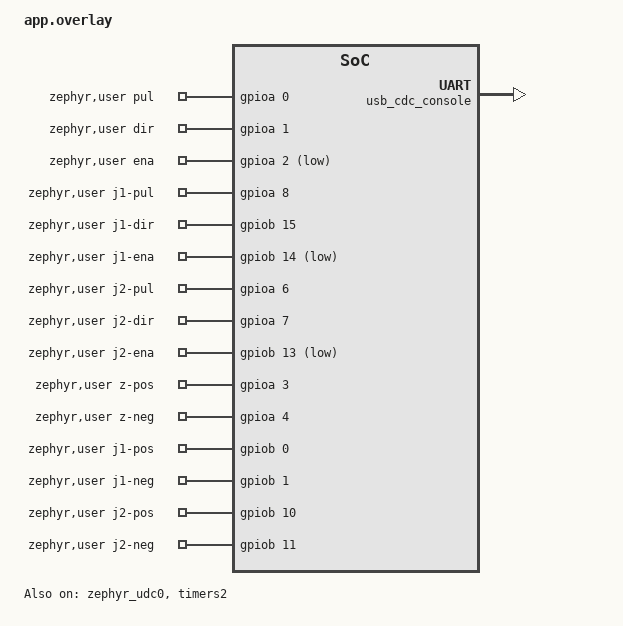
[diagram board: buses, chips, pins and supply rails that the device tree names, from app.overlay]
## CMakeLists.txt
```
cmake_minimum_required(VERSION 3.20.0)
find_package(Zephyr REQUIRED HINTS $ENV{ZEPHYR_BASE})
project(scara_cartesian)
target_sources(app PRIVATE
    src/main.c
    src/cart_core.c
    src/cart_commands.c
    src/cart_telemetry.c
    src/command_text.c
    src/command_stream.c
    src/jog_core.c
    src/home_worker.c
)
```

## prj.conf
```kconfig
CONFIG_GPIO=y
CONFIG_ADC=n
CONFIG_COUNTER=y
CONFIG_BOOT_BANNER=n
CONFIG_MAIN_STACK_SIZE=4096
CONFIG_USB_DEVICE_STACK=y
CONFIG_USB_DEVICE_INITIALIZE_AT_BOOT=n
CONFIG_USB_DEVICE_PRODUCT="SCARA Cartesian NC Home"
CONFIG_USB_DEVICE_PID=0x0006
CONFIG_SERIAL=y
CONFIG_CONSOLE=y
CONFIG_UART_CONSOLE=y
CONFIG_UART_LINE_CTRL=y
```

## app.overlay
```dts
/*
 * Pin mapping cho module TB6600 (PUL-, DIR-, ENA- noi GND):
 *   PA0 -> PUL+
 *   PA1 -> DIR+
 *   PA2 -> ENA+
 *
 * ENA la GPIO_ACTIVE_LOW: "logic 1" = driver duoc cho phep = chan PA2 ra muc THAP.
 * (Voi TB6600, ENA+ co dong qua opto => driver bi TAT/offline.)
 *
 * Six dry NC switches: COM -> GND, NC -> GPIO; NO unused.
 * Internal 3.3V pull-up: closed LOW, actuated/open wire HIGH.
 */
#include <zephyr/dt-bindings/gpio/gpio.h>

/ {
	chosen {
		zephyr,console = &usb_cdc_console;
		zephyr,shell-uart = &usb_cdc_console;
	};

	zephyr,user {
		pul-gpios = <&gpioa 0 GPIO_ACTIVE_HIGH>;
		dir-gpios = <&gpioa 1 GPIO_ACTIVE_HIGH>;
		ena-gpios = <&gpioa 2 GPIO_ACTIVE_LOW>;
		j1-pul-gpios = <&gpioa 8 GPIO_ACTIVE_HIGH>;
		j1-dir-gpios = <&gpiob 15 GPIO_ACTIVE_HIGH>;
		j1-ena-gpios = <&gpiob 14 GPIO_ACTIVE_LOW>;
		j2-pul-gpios = <&gpioa 6 GPIO_ACTIVE_HIGH>;
		j2-dir-gpios = <&gpioa 7 GPIO_ACTIVE_HIGH>;
		j2-ena-gpios = <&gpiob 13 GPIO_ACTIVE_LOW>;
		z-pos-gpios = <&gpioa 3 (GPIO_ACTIVE_HIGH | GPIO_PULL_UP)>;
		z-neg-gpios = <&gpioa 4 (GPIO_ACTIVE_HIGH | GPIO_PULL_UP)>;
		j1-pos-gpios = <&gpiob 0 (GPIO_ACTIVE_HIGH | GPIO_PULL_UP)>;
		j1-neg-gpios = <&gpiob 1 (GPIO_ACTIVE_HIGH | GPIO_PULL_UP)>;
		j2-pos-gpios = <&gpiob 10 (GPIO_ACTIVE_HIGH | GPIO_PULL_UP)>;
		j2-neg-gpios = <&gpiob 11 (GPIO_ACTIVE_HIGH | GPIO_PULL_UP)>;
	};
};

/* Cong micro-USB Blue Pill: PA11 = D-, PA12 = D+.
 * printk() xuat ra COM ao, khong can bo chuyen doi USB-UART. */
&zephyr_udc0 {
	status = "okay";
	usb_cdc_console: cdc_acm_uart0 {
		compatible = "zephyr,cdc-acm-uart";
	};
};

/* ADC1 defaults to PA0 (PUL); keep all switch pins digital. */
&adc1 { status = "disabled"; };

/* PA4 is also SPI1 NSS. PB10/PB11 are USART3 and I2C2 by default. */
&spi1 {
	status = "disabled";
};
&spi2 { status = "disabled"; };
&usart3 { status = "disabled"; };
&i2c2 { status = "disabled"; };
/* PA8/PB13/PB14/PB15 stay GPIO; the only pulse timer is shared TIM2. */
&timers1 { status = "disabled"; };
&pwm1 { status = "disabled"; };

/* Board stm32_min_dev bat USART2 mac dinh tren PA2/PA3.
 * Hai chan nay da danh cho ENA va cam bien; console chuyen sang USB CDC ACM. */
&usart2 {
	status = "disabled";
};

/* TIM2 at 72 MHz / 72 = 1 MHz. PA0 stays GPIO, no PWM pin remapping. */
&timers2 {
	status = "okay";
	st,prescaler = <71>;
	jog_timer: counter {
		status = "okay";
	};
};
```

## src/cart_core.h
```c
/*
 * ============================================================================
 * FILE: cart_core.h
 * ============================================================================
 * [EN] 3-Axis SCARA Core State, Fixed-Point DDA Interpolator & Homing Stages
 *      Defines the central `struct ct_state` holding all 3 axes (`Z`, `J1`, `J2`),
 *      differential belt coupling (`beta`), backlash compensation, FIFO path
 *      queue (`CT_PATH_CAP = 32`), and multi-stage initialization state machine.
 *
 * [VI] Cấu trúc Trạng thái Lõi 3 Trục SCARA, Bộ Nội suy DDA & Quy trình Homing
 *      Định nghĩa cấu trúc trung tâm `struct ct_state` quản lý toàn bộ 3 trục
 *      (`Z`, `J1`, `J2`), hệ số bù truyền động dây đai chéo (`beta`), bù độ rơ
 *      cơ khí (`backlash`), hàng đợi quỹ đạo liên tục (`CT_PATH_CAP = 32` đoạn)
 *      và máy trạng thái khởi tạo hệ tọa độ tự động.
 *
 * [IMPORTANT ARCHITECTURE NOTE / LƯU Ý KIẾN TRÚC QUAN TRỌNG]:
 * - Wire axis index order is ALWAYS: `0 = CT_Z`, `1 = CT_J1`, `2 = CT_J2`.
 * - The pulse ISR (`pulse_tick` in `main.c`) uses ONLY integer/fixed-point
 *   arithmetic (`CT_Q = 2^20 = 1048576`) because STM32F103 Cortex-M3 has no
 *   hardware FPU!
 * - Thứ tự chỉ số trục luôn cố định: `0 = CT_Z` (trục đứng), `1 = CT_J1` (vai),
 *   `2 = CT_J2` (khuỷu).
 * - Ngắt phát xung (`pulse_tick` trong `main.c`) chỉ sử dụng số nguyên dấu phẩy
 *   tĩnh (`CT_Q = 2^20 = 1048576`) vì vi điều khiển STM32F103 Cortex-M3 không có
 *   bộ xử lý số thực phần cứng (FPU)!
 * ============================================================================
 */

#ifndef SCARA_CART_CORE_H
#define SCARA_CART_CORE_H

#include "home_worker.h"

/*
 * [EN] Axis indices: Z vertical prism (0), Joint 1 shoulder (1), Joint 2 elbow motor (2).
 * [VI] Chỉ số trục: Trục tịnh tiến Z (0), Khớp vai J1 (1), Động cơ khớp khuỷu J2 (2).
 */
enum {
    CT_Z = 0,
    CT_J1 = 1,
    CT_J2 = 2,
    CT_AXES = 3
};

/*
 * [EN] Return status for command execution and background service ticks.
 * [VI] Mã kết quả trả về khi xử lý lệnh hoặc hàm dịch vụ nền `ct_service`.
 */
enum ct_result {
    CT_OK,          /* [EN] Accepted, no motor timer start needed / [VI] Thành công, không cần bật mới Timer */
    CT_START,       /* [EN] Motion ready: caller must start pulse timer / [VI] Bắt đầu chạy: cần kích hoạt Timer phát xung */
    CT_REJECTED,    /* [EN] Command/state rejected (see `c->reply`) / [VI] Lệnh bị từ chối (xem lý do ở `c->reply`) */
    CT_HOLD_CHANGE  /* [EN] Caller must toggle motor ENA pin / [VI] Yêu cầu đóng/ngắt chân ENA giữ động cơ */
};

/*
 * [EN] Active motion mode of the 3-axis controller.
 * [VI] Chế độ chuyển động hiện tại của bộ điều khiển 3 trục.
 */
enum ct_mode {
    CT_IDLE,  /* [EN] Stationary / [VI] Đang đứng yên */
    CT_MOVE,  /* [EN] Coordinated point-to-point or path move / [VI] Chạy nội suy điểm-tới-điểm hoặc quỹ đạo vẽ */
    CT_CAL,   /* [EN] Single-axis limit switch calibration / [VI] Đang dò công tắc hành trình hiệu chuẩn */
    CT_PARK   /* [EN] Internal positioning move during INIT / [VI] Chạy di chuyển nội bộ trong quy trình INIT */
};

/*
 * [EN] Multi-stage homing & auto-coupling initialization sequence (`INIT` command).
 * [VI] Các bước tuần tự trong quy trình dò gốc và đo tỷ số truyền đai tự động (`INIT`).
 */
enum ct_stage {
    HS_IDLE,           /* [EN] Not initialized yet / [VI] Chưa khởi tạo gốc */
    HS_Z,              /* [EN] Step 1: Calibrate Z axis / [VI] Bước 1: Dò gốc và đo hành trình trục Z */
    HS_J2_PRE,         /* [EN] Step 2: Pre-calibrate J2 / [VI] Bước 2: Đo sơ bộ hành trình trục J2 */
    HS_J2_MID,         /* [EN] Step 3: Park J2 at midpoint / [VI] Bước 3: Đưa J2 ra chính giữa hành trình */
    HS_J1,             /* [EN] Step 5: Calibrate J1 (with J2 belt compensation) / [VI] Bước 5: Dò gốc trục J1 (có bù đai J2) */
    HS_J1_MID,         /* [EN] Step 6: Move J1 to park angle / [VI] Bước 6: Đưa J1 về góc Park */
    HS_J2_FINAL,       /* [EN] Step 7: Final J2 calibration at J1 park angle / [VI] Bước 7: Dò gốc chính xác J2 khi J1 ở vị trí Park */
    HS_PARK,           /* [EN] Step 8: Move all 3 axes to Park pose / [VI] Bước 8: Đưa cả 3 trục về tư thế Park hoàn tất */
    HS_READY,          /* [EN] Homing complete & referenced! / [VI] Đã có gốc tọa độ, sẵn sàng làm việc! */
    HS_FAILED,         /* [EN] Homing failed / [VI] Quy trình dò gốc thất bại */
    HS_COUPLE_PROBE,   /* [EN] Step 4a: Probe J1 by `probe_pulses` to measure belt coupling / [VI] Bước 4a: Nhích thử J1 để đo độ kéo theo của dây đai */
    HS_COUPLE_SCAN,    /* [EN] Step 4b: Re-scan J2 to measure shift `dB/dA` / [VI] Bước 4b: Quét lại J2 để tính tỷ số truyền đai thực tế */
    HS_COUPLE_RETURN   /* [EN] Step 4c: Return J1/J2 to pre-probe midpoint / [VI] Bước 4c: Đưa J1/J2 trở lại vị trí giữa trước khi dò J1 */
};

/*
 * [EN] Fixed-point scaling and operational limits:
 *      - CT_Q            : 2^20 (1,048,576) fixed-point unit for DDA & coupling math.
 *      - CT_MAX_POS      : Absolute step count ceiling (4,000,000 steps).
 *      - CT_MAX_RATE     : Maximum coordinated XY/arm step rate (1600 pulses/s).
 *      - CT_Z_CAL_RATE   : Maximum Z-only step rate (6400 pulses/s).
 *      - CT_LEASE        : Host heartbeat watchdog timeout (350 ms).
 *      - CT_INIT_MS      : Maximum duration for full 3-axis INIT (30 minutes).
 *      - CT_INPUT_WAIT_MS: Max recovery window for transient switch bounce (200 ms).
 *      - CT_PATH_CAP     : Ring-buffer capacity for streamed path segments (32 segments).
 *
 * [VI] Các hằng số dấu phẩy tĩnh và giới hạn vận hành:
 *      - CT_Q            : Hệ số nhân 2^20 (1.048.576) cho toán nguyên DDA và bù dây đai.
 *      - CT_MAX_POS      : Giới hạn tọa độ xung tuyệt đối (4.000.000 xung).
 *      - CT_MAX_RATE     : Tốc độ xung tối đa khi nội suy tay máy (1600 xung/giây).
 *      - CT_Z_CAL_RATE   : Tốc độ xung tối đa khi chỉ chạy riêng trục Z (6400 xung/giây).
 *      - CT_LEASE        : Thời gian chờ gói tin KEEP tối đa (350 ms).
 *      - CT_INIT_MS      : Thời gian tối đa cho toàn bộ lệnh INIT (30 phút).
 *      - CT_INPUT_WAIT_MS: Thời gian chờ ổn định công tắc tối đa khi bị nhiễu (200 ms).
 *      - CT_PATH_CAP     : Sức chứa bộ đệm vòng cho quỹ đạo vẽ liên tục (32 đoạn).
 */
#define CT_Q             1048576LL
#define CT_MAX_POS       4000000
#define CT_MAX_RATE      1600U
#define CT_Z_CAL_RATE    6400U
#define CT_LEASE         350U
#define CT_INIT_MS       1800000U
#define CT_INPUT_WAIT_MS 200U
#define CT_PATH_CAP      32U

/*
 * [EN] A single buffered trajectory segment in the continuous path FIFO (`PATH`/`SEG`/`GO`).
 * [VI] Cấu trúc một đoạn quỹ đạo trong hàng đợi FIFO khi vẽ nét liên tục (`PATH`/`SEG`/`GO`).
 */
struct ct_segment {
    int32_t target[CT_AXES]; /* [EN] Absolute motor step target / [VI] Đích đến tính bằng số bước động cơ */
    uint32_t accel;          /* [EN] Acceleration in pulses/s^2 / [VI] Gia tốc (xung/giây^2) */
    uint16_t peak;           /* [EN] Peak cruise rate (pps) / [VI] Vận tốc đỉnh của đoạn (xung/giây) */
    uint16_t entry;          /* [EN] Entry boundary rate (pps) / [VI] Vận tốc đầu đoạn (xung/giây) */
    uint16_t exit;           /* [EN] Exit boundary rate (pps) / [VI] Vận tốc cuối đoạn (xung/giây) */
};

/*
 * [EN] Master 3-axis SCARA controller state structure.
 * [VI] Cấu trúc dữ liệu tổng lưu toàn bộ trạng thái bộ điều khiển 3 trục SCARA.
 */
struct ct_state {
    /*
     * [EN] Limit-switch monitors (`sw[3]`), calibration motion monitor (`cm`),
     *      and per-axis homing worker state machines (`cal[3]`).
     * [VI] Bộ lọc công tắc hành trình 3 trục (`sw[3]`), bộ giám sát trục đang dò gốc (`cm`),
     *      và máy trạng thái đo hành trình của từng trục (`cal[3]`).
     */
    struct zj_state sw[CT_AXES], cm;
    struct hc_state cal[CT_AXES];

    /*
     * [EN] Step coordinates and scale factors for each axis:
     *      - `pos`    : Current raw motor step position (signed steps since power-on).
     *      - `origin` : Raw motor step coordinate corresponding to 0 mm (Z) or 0 deg (J1/J2).
     *      - `goal`   : Target raw motor step coordinate for the current move.
     *      - `total`  : Cumulative step pulses emitted since boot.
     *      - `range`  : Measured end-to-end travel span in pulses (`cal[a].pulses`).
     *      - `factor` : Active Q10 scale factor (`pulses_per_mm_or_deg * 1024`).
     *      - `nominal`: Configured nominal Q10 scale factor from `GEOM`.
     *      - `micro`  : Configured driver microstepping (`1, 2, 4, 8, 16, 32`).
     *
     * [VI] Tọa độ bước và hệ số tỷ lệ của từng trục:
     *      - `pos`    : Vị trí bước động cơ thô hiện tại (tính từ lúc bật nguồn).
     *      - `origin` : Tọa độ bước thô ứng với điểm gốc 0 mm (trục Z) hoặc 0 độ (J1/J2).
     *      - `goal`   : Tọa độ bước đích của lệnh di chuyển hiện tại.
     *      - `total`  : Tổng số xung đã phát ra từ lúc khởi động.
     *      - `range`  : Tổng số xung đo được giữa 2 công tắc hành trình.
     *      - `factor` : Hệ số quy đổi xung Q10 thực tế (`số_xung_trên_mm_hoặc_độ * 1024`).
     *      - `nominal`: Hệ số quy đổi xung Q10 danh định nhận từ lệnh `GEOM`.
     *      - `micro`  : Cấu hình vi bước của driver (`1, 2, 4, 8, 16, 32`).
     */
    int32_t pos[CT_AXES], origin[CT_AXES], goal[CT_AXES];
    uint64_t total[CT_AXES];
    uint32_t range[CT_AXES], factor[CT_AXES], nominal[CT_AXES], micro[CT_AXES];

    /*
     * [EN] Angular limits in millidegrees (`1 deg = 1000 mdeg`), Z travel in micrometers
     *      (`1 mm = 1000 um`), belt coupling in ppm (`1e6 = 1.0`), and homing tuning rates.
     * [VI] Giới hạn góc tính bằng phần nghìn độ (`1 độ = 1000 mdeg`), hành trình Z tính
     *      bằng micromet (`1 mm = 1000 um`), hệ số truyền đai (ppm) và tốc độ dò gốc.
     */
    int32_t low_md[2], high_md[2], park_md[2], span_md[2], coupling_ppm, beta_measured;
    uint32_t z_span_um, z_clear_um;
    uint32_t arm_rate, j2_rate, j2_fine_rate, z_rate, z_fine_rate;
    uint32_t arm_scan, z_scan, arm_back, z_back;

    /*
     * [EN] Session/job tracking, watchdog timestamps, DDA accumulators, and backlash state.
     * [VI] Quản lý phiên kết nối (`session`/`job`), thời gian watchdog, bộ tích lũy DDA và bù độ rơ.
     */
    uint32_t session, job, last_job, lease_ms, start_ms, tick, ticks, rate, reference_epoch;
    uint32_t delta[CT_AXES], comp_total[CT_AXES];
    uint16_t backlash[CT_AXES], comp_left[CT_AXES];
    uint64_t accum[CT_AXES];
    int direction[CT_AXES], joint_dir[CT_AXES], last_dir[CT_AXES];
    int64_t beta, cal_scale, cal_weight[CT_AXES];

    /*
     * [EN] Auto-coupling probe state: measures `dB / dA` from the same J2 endpoint
     *      before and after a short bounded J1 probe during `INIT`.
     * [VI] Trạng thái tự động đo tỷ số truyền đai chéo `dB / dA` bằng cách nhích thử J1
     *      và đo độ dịch chuyển điểm chạm công tắc J2 trong quá trình `INIT`.
     */
    bool auto_coupling, coupling_ready, probe_contact, probe_retry, comp_step;
    bool quick_init, has_calibrated;
    uint32_t probe_pulses, probe_range, saved_range[CT_AXES];
    int32_t probe_a0, probe_b0, probe_mid, probe_da, probe_db;

    /*
     * [EN] Axis selection, configuration bitmask (`cfg_mask == 15` when GEOM/SPAN/PARK/TUNE
     *      are all loaded), polarity, holding torque flags, and overall status flags.
     * [VI] Trục đang chọn, mặt nạ cấu hình (`cfg_mask == 15` khi đã nhận đủ 4 lệnh cấu hình),
     *      cực tính chân DIR, trạng thái giữ phanh động cơ và các cờ trạng thái hệ thống.
     */
    unsigned selected, cfg_mask, hold_axis;
    bool pol[CT_AXES], holding[CT_AXES], running, initializing, referenced, fault, hold_value;

    /*
     * [EN] During initialization only: a transient double-open on a switch pair
     *      freezes pulses temporarily while retaining DDA accumulators and worker
     *      state until a bounded stationary check (`stationary_check`) completes.
     * [VI] Trong quá trình INIT: nếu xuất hiện nhiễu thoáng qua trên cặp công tắc,
     *      tạm dừng phát xung nhưng giữ nguyên bộ cộng tích lũy DDA cho tới khi
     *      kiểm tra tĩnh (`stationary_check`) xác nhận công tắc đã ổn định trở lại.
     */
    bool input_wait, wait_running;
    int wait_cm_dir;
    enum zj_reason wait_cm_reason;
    unsigned wait_axes, wait_bits;
    uint32_t wait_start_ms, wait_stable_ms, ramp_ms, ramp_tick, recovered;

    /*
     * [EN] Switch event diagnostics and pre-transition stability gate state.
     * [VI] Các biến chẩn đoán sự kiện công tắc và cổng chờ ổn định trước khi chuyển pha.
     */
    int input_axis; /* [EN] -1 means no input event since accepted job / [VI] -1 nghĩa là chưa có sự kiện công tắc nào */
    unsigned input_bits, input_kind;
    uint32_t input_at_ms;
    unsigned last_hit_bits;
    uint32_t last_hit_ms;
    uint32_t idle_ignored, gate_start_ms;
    bool gate_wait, wait_guard;
    unsigned gate_axis;

    enum ct_mode mode;
    enum ct_stage stage;
    const char *reason, *reply;

    /*
     * [EN] Bounded FIFO path queue (`CT_PATH_CAP = 32`). Segment transitions
     *      happen seamlessly inside the pulse ISR after draining the final HIGH pulse.
     * [VI] Hàng đợi FIFO lưu các đoạn quỹ đạo vẽ liên tục (`CT_PATH_CAP = 32`).
     *      Việc chuyển tiếp giữa các đoạn diễn ra mượt mà ngay trong ngắt Timer.
     */
    struct ct_segment path_queue[CT_PATH_CAP];
    int32_t path_tail[CT_AXES];
    uint32_t path_accel, path_starved;
    uint32_t path_up, path_down;
    uint16_t path_total, path_received, path_done, path_head, path_size;
    uint16_t path_entry, path_exit;
    bool path_active, path_started;
};

/*
 * [EN] Initialize `struct ct_state` with safe power-on defaults.
 * [VI] Khởi tạo cấu trúc `struct ct_state` với các thông số mặc định an toàn khi bật nguồn.
 */
void ct_init(struct ct_state *c);

/*
 * [EN] Return true if the robot is currently stepping, homing (`initializing`), or running a path.
 * [VI] Trả về `true` nếu robot đang phát xung, đang dò gốc (`initializing`), hoặc đang chạy quỹ đạo.
 */
bool ct_busy(const struct ct_state *c);

/*
 * [EN] Emergency/controlled stop: halts motion, clears `referenced`, and records `reason`.
 * [VI] Dừng khẩn cấp: ngắt chuyển động, xóa cờ gốc tọa độ `referenced` và ghi lại mã lỗi `reason`.
 */
void ct_abort(struct ct_state *c, const char *reason);

/*
 * [EN] Feed raw positive/negative limit switch readings for `axis` at timestamp `now` (ms).
 * [VI] Cập nhật mức tín hiệu thô của cặp công tắc âm/dương cho trục `axis` tại thời điểm `now` (ms).
 */
void ct_sample(struct ct_state *c, unsigned axis, int positive, int negative, uint32_t now);

/*
 * [EN] Verify real-time safety before emitting a step pulse or continuing motion.
 * [VI] Kiểm tra an toàn thời gian thực trước mỗi nhịp phát xung.
 */
bool ct_safe(struct ct_state *c, uint32_t now);

/*
 * [EN] Advance DDA accumulators (or backlash counters) and return 3-bit mask of axes to step.
 * [VI] Tính toán bộ tích lũy DDA (hoặc bù độ rơ) và trả về mặt nạ 3-bit các trục cần phát xung.
 */
unsigned ct_next_mask(struct ct_state *c);

/*
 * [EN] Increment position and pulse counters after emitting a rising edge on `axis`.
 * [VI] Cập nhật tọa độ và bộ đếm xung sau khi phát sườn lên trên trục `axis`.
 */
void ct_count(struct ct_state *c, unsigned axis);

/*
 * [EN] Complete the current DDA tick after all selected axes have pulsed HIGH.
 * [VI] Hoàn tất một nhịp nội suy DDA sau khi các trục được chọn đã phát xung mức CAO.
 */
void ct_finish_tick(struct ct_state *c);

/*
 * [EN] Compute the current step pulse period in microseconds (`1,000,000 / rate_pps`).
 * [VI] Tính chu kỳ phát xung hiện tại theo đơn vị micro-giây (`1.000.000 / tốc_độ_xung`).
 */
uint32_t ct_period_us(const struct ct_state *c, uint32_t now);

/*
 * [EN] Pop and start the next trajectory segment from `path_queue` FIFO inside the ISR.
 * [VI] Lấy đoạn quỹ đạo kế tiếp từ hàng đợi FIFO `path_queue` ra chạy ngay trong ngắt ISR.
 */
bool ct_path_advance(struct ct_state *c);

/*
 * [EN] Background state machine tick for `INIT` homing sequence and path loading watchdog.
 * [VI] Hàm dịch vụ nền điều phối quy trình dò gốc `INIT` và giám sát nạp quỹ đạo.
 */
enum ct_result ct_service(struct ct_state *c, uint32_t now);

/*
 * [EN] Parse and execute one ASCII command line from the PC host.
 * [VI] Giải mã và thực thi một dòng lệnh ASCII gửi xuống từ máy tính.
 */
enum ct_result ct_command(struct ct_state *c, const char *line, uint32_t now);

/*
 * [EN] Report whether toggling the hardware `ENA` pin succeeded after a `HOLD` command.
 * [VI] Báo cáo kết quả đóng/ngắt chân phần cứng `ENA` sau khi thực hiện lệnh `HOLD`.
 */
void ct_hold_complete(struct ct_state *c, bool success);

#endif /* SCARA_CART_CORE_H */
```

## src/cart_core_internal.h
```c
/*
 * ============================================================================
 * FILE: cart_core_internal.h
 * ============================================================================
 * [EN] Internal Helper Prototypes Shared Between `cart_core.c` & `cart_commands.c`
 *      Exposes internal validation, coupling update, raw move setup, and
 *      calibration launch helpers to the command parser without polluting the
 *      public `cart_core.h` header.
 *
 * [VI] Các Hàm Nội bộ Dùng Chung Giữa `cart_core.c` và `cart_commands.c`
 *      Cung cấp các hàm kiểm tra đầu vào, cập nhật hệ số bù đai `beta`, khởi tạo
 *      lệnh chạy thô và kích hoạt pha dò gốc cho bộ giải mã lệnh mà không làm
 *      phức tạp file giao diện công khai `cart_core.h`.
 * ============================================================================
 */

#ifndef SCARA_CART_CORE_INTERNAL_H
#define SCARA_CART_CORE_INTERNAL_H

#include "cart_core.h"

/*
 * [EN] Check all 3 axes' switches and driver states. Returns NULL if healthy,
 *      or a static error reason string ("motor_fault", "released", "switch_io", etc.).
 * [VI] Kiểm tra trạng thái công tắc và driver của cả 3 trục. Trả về NULL nếu an toàn,
 *      hoặc chuỗi mã lỗi tương ứng ("motor_fault", "released", "switch_io", ...) nếu có sự cố.
 */
const char *ct_inputs(struct ct_state *control, uint32_t now);

/*
 * [EN] Recompute fixed-point belt coupling ratio `control->beta` (scaled by `CT_Q = 2^20`)
 *      from `coupling_ppm` and axis scale factors `factor[1]`, `factor[2]`.
 * [VI] Tính toán lại hệ số bù đai dấu phẩy tĩnh `control->beta` (nhân với `CT_Q = 2^20`)
 *      từ `coupling_ppm` và hệ số quy đổi xung `factor[1]`, `factor[2]`.
 */
void ct_beta_update(struct ct_state *control);

/*
 * [EN] Verify whether motor step coordinates `position[CT_AXES]` lie within
 *      calibrated Z travel and J1/J2 angular soft limits (with `margin_md` margin).
 * [VI] Kiểm tra tọa độ bước `position[CT_AXES]` có nằm trong giới hạn mềm của
 *      trục Z và góc khớp vai J1 / khuỷu J2 (trừ biên an toàn `margin_md`) hay không.
 */
bool ct_pose_valid(const struct ct_state *control, const int32_t position[CT_AXES], int margin_md);

/*
 * [EN] Set up a coordinated multi-axis DDA move from `control->pos` to `target` at `rate` pps.
 *      When `park == true`, the move runs in internal `CT_PARK` mode (no backlash take-up).
 * [VI] Thiết lập bộ nội suy DDA đa trục từ vị trí hiện tại `control->pos` tới `target` ở tốc độ `rate`.
 *      Khi `park == true`, lệnh chạy ở chế độ nội bộ `CT_PARK` (không phát xung bù rơ).
 */
enum ct_result ct_raw_move(struct ct_state *control, const int32_t target[CT_AXES], uint32_t rate, bool park);

/*
 * [EN] Compute minimum number of ticks required to ramp between `end` and `peak`
 *      rates under quintic smootherstep profile with acceleration `accel`.
 * [VI] Tính số xung (ticks) tối thiểu cần thiết để tăng/giảm tốc giữa `end` và `peak`
 *      theo đường cong đa thức bậc 5 với gia tốc `accel`.
 */
uint32_t ct_path_ramp(uint32_t peak, uint32_t end, uint32_t accel);

/*
 * [EN] Start a single-axis calibration sequence on `axis` for initialization stage `stage`.
 * [VI] Bắt đầu chu trình dò công tắc hành trình trên trục `axis` ứng với bước `stage`.
 */
enum ct_result ct_begin_cal(struct ct_state *control, unsigned axis, enum ct_stage stage, uint32_t now);

#endif /* SCARA_CART_CORE_INTERNAL_H */
```

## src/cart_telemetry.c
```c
/*
 * ============================================================================
 * FILE: cart_telemetry.c
 * ============================================================================
 * [EN] Telemetry Snapshot Capture and Protocol-V5 JSON Serialization
 *      Converts internal firmware state into the JSON status and ACK packets
 *      consumed by the Python GUI (`cartesian_nc_protocol.py`).
 *
 * [VI] Chụp Ảnh Trạng thái & Đóng gói Chuỗi JSON Giao thức V5
 *      Chuyển đổi các biến trạng thái nội bộ của Firmware thành gói tin JSON
 *      `status` (mỗi 100 ms) và `ack` (sau mỗi lệnh) gửi lên phần mềm Python.
 *
 * [DEBUG TIP / MẸO GỠ LỖI]:
 * - In `ct_status_capture`, reported positions `s->p[a]` and goals `s->g[a]`
 *   are relative to the home origin (`c->pos[a] - c->origin[a]`).
 * - Bitmasks (`switches`, `raw`, `ready`, `holding`, `pol`, `conflicts`) pack
 *   all 3 axes into a single integer so students can inspect every switch wire
 *   directly from the JSON log!
 * - Trong hàm `ct_status_capture`, tọa độ báo về `s->p[a]` đã được trừ đi điểm
 *   gốc `c->origin[a]`. Các trường mặt nạ bit (`switches`, `raw`, `ready`, ...)
 *   nén trạng thái của cả 3 trục vào một số nguyên giúp dễ dàng kiểm tra dây
 *   công tắc từ cửa sổ Log trên máy tính.
 * ============================================================================
 */

#include "cart_telemetry.h"
#include <stdio.h>
#include <string.h>

/*
 * [EN] Copy fields from `c` into `s` quickly while interrupts are locked:
 *      - Step 1: Copy session, job, tick progress, and path FIFO credit counters.
 *      - Step 2: Copy high-level state flags (`busy`, `referenced`, `stage`, `reason`)
 *        and switch glitch recovery diagnostics.
 *      - Step 3: Compute instantaneous step rate `pps` and copy belt coupling values.
 *      - Step 4: Loop over axes `0..2` (`Z`, `J1`, `J2`) to compute home-relative step
 *        positions and pack per-axis switch/driver flags into compact bitmasks.
 *
 * [VI] Sao chép nhanh các trường dữ liệu từ `c` sang `s` trong khi đang khóa ngắt:
 *      - Bước 1: Sao chép mã `session`, `job`, tiến độ xung `tick`/`ticks` và bộ đếm FIFO `path`.
 *      - Bước 2: Sao chép các cờ trạng thái tổng quát (`busy`, `referenced`, `stage`, `reason`)
 *        và thông tin chẩn đoán chống nhiễu công tắc.
 *      - Bước 3: Tính tốc độ xung tức thời `pps` và sao chép các thông số bù dây đai.
 *      - Bước 4: Duyệt qua 3 trục (`Z`, `J1`, `J2`) để tính tọa độ bước tương đối so với gốc
 *        và đóng gói trạng thái công tắc/driver vào các mặt nạ bit (`mask`, `raw`, `ready`, ...).
 */
void ct_status_capture(
    struct ct_status *s,
    const struct ct_state *c,
    bool timer_running,
    uint32_t timer_late,
    uint32_t now
)
{
    memset(s, 0, sizeof(*s));

    /*
     * [EN] Step 1: Session, job tracking, and path FIFO credit counters.
     * [VI] Bước 1: Thông tin phiên kết nối, mã công việc và bộ đếm hàng đợi quỹ đạo.
     */
    s->session = c->session;
    s->job = c->job;
    s->epoch = c->reference_epoch;
    s->tick = c->tick;
    s->ticks = c->ticks;
    s->late = timer_late;

    s->path[0] = c->path_total;
    s->path[1] = c->path_received;
    s->path[2] = c->path_done;
    s->path[3] = CT_PATH_CAP - c->path_size; /* [EN] Available FIFO slots (credits) / [VI] Số ô trống còn lại trong FIFO */
    s->starved = c->path_starved;

    /*
     * [EN] Step 2: High-level controller state and switch recovery diagnostics.
     * [VI] Bước 2: Trạng thái hoạt động tổng quát và thông tin chẩn đoán công tắc.
     */
    s->busy = ct_busy(c) || timer_running;
    s->referenced = c->referenced;
    s->fault = c->fault;
    s->stage = c->stage;
    s->reason = c->reason;

    s->recovered = c->recovered;
    s->input_wait = c->input_wait;
    s->idle_ignored = c->idle_ignored;
    s->gate_wait = c->gate_wait;
    s->gate_axis = c->gate_axis;
    s->input_axis = c->input_axis;
    s->input_kind = c->input_kind;
    s->input_bits = c->input_bits;
    s->input_at = c->input_at_ms;

    /*
     * [EN] Step 3: Motion mode, instantaneous pulse rate (pps), and belt coupling parameters.
     * [VI] Bước 3: Chế độ chạy, tần số xung tức thời (pps) và các hệ số truyền động đai.
     */
    s->mode = c->mode;
    s->selected = c->selected;
    if (c->running) {
        s->pps = 1000000U / ct_period_us(c, now);
    } else {
        s->pps = 0U;
    }

    s->coupling_ppm = c->coupling_ppm;
    s->beta_q = (int32_t)c->beta;
    s->beta_measured = c->beta_measured;
    s->span_md[0] = c->span_md[0];
    s->span_md[1] = c->span_md[1];
    s->comp_pulses[0] = c->comp_total[1];
    s->comp_pulses[1] = c->comp_total[2];
    s->probe_da = c->probe_da;
    s->probe_db = c->probe_db;
    s->coupling_ready = c->coupling_ready;

    /*
     * [EN] Step 4: Per-axis coordinates, calibration results, and packed bitmasks:
     *      - `raw` and `mask` use 2 bits per axis: `bit (2*a)` = positive switch, `bit (2*a + 1)` = negative switch.
     *      - `io_errors`, `ready`, `hold`, `pol`, `conflicts` use 1 bit per axis (`bit a`).
     * [VI] Bước 4: Tọa độ từng trục, kết quả đo hành trình và các mặt nạ bit trạng thái:
     *      - `raw` và `mask` dùng 2 bit mỗi trục: `bit (2*a)` = công tắc dương, `bit (2*a + 1)` = công tắc âm.
     *      - `io_errors`, `ready`, `hold`, `pol`, `conflicts` dùng 1 bit mỗi trục (`bit a`).
     */
    for (unsigned a = 0; a < CT_AXES; a++) {
        s->p[a] = c->pos[a] - c->origin[a];
        s->g[a] = c->goal[a] - c->origin[a];
        s->total[a] = c->total[a];
        s->brief[a] = c->sw[a].brief_both;
        s->false_hits[a] = c->cal[a].false_hits;

        unsigned io_err_bit = (c->sw[a].error != 0) ? 1U : 0U;
        s->io_errors |= (io_err_bit << a);

        unsigned raw_pos_bit = (c->sw[a].raw_pos != 0) ? 1U : 0U;
        unsigned raw_neg_bit = (c->sw[a].raw_neg != 0) ? 2U : 0U;
        s->raw |= ((raw_pos_bit | raw_neg_bit) << (2U * a));

        s->range[a] = c->range[a];
        s->f[a] = c->factor[a];
        s->n1[a] = c->cal[a].n1;
        s->n2[a] = c->cal[a].n2;
        s->phases[a] = c->cal[a].phase;
        s->errors[a] = c->cal[a].error;
        s->failed[a] = c->cal[a].failed_phase;

        unsigned pos_active = (c->sw[a].top || c->sw[a].raw_pos != 0) ? 1U : 0U;
        unsigned neg_active = (c->sw[a].bottom || c->sw[a].raw_neg != 0) ? 1U : 0U;
        s->mask |= (pos_active << (2U * a));
        s->mask |= (neg_active << (2U * a + 1U));

        unsigned ready_bit = zj_ready(&c->sw[a]) ? 1U : 0U;
        unsigned hold_bit = c->holding[a] ? 1U : 0U;
        unsigned pol_bit = c->pol[a] ? 1U : 0U;
        unsigned conflict_bit = c->sw[a].conflict ? 1U : 0U;

        s->ready |= (ready_bit << a);
        s->hold |= (hold_bit << a);
        s->pol |= (pol_bit << a);
        s->direction[a] = c->direction[a];
        s->conflicts |= (conflict_bit << a);
    }
}

/*
 * [EN] Serialize `struct ct_status` into a single-line JSON status message.
 * [VI] Đóng gói cấu trúc `struct ct_status` thành chuỗi JSON một dòng gửi qua USB.
 */
int ct_status_format(char *output, size_t capacity, const struct ct_status *s, uint32_t now)
{
    return snprintf(
        output,
        capacity,
        "{\"type\":\"status\",\"protocol\":5,\"fw\":\"SCARA_CARTESIAN_NC_V5\",\"build\":\"SCARA_CART_NC_HOME_V5_R9\","
        "\"session\":%lu,\"job\":%lu,\"up_ms\":%lu,\"busy\":%d,\"referenced\":%d,\"epoch\":%lu,\"stage\":%u,"
        "\"pos\":[%ld,%ld,%ld],\"goal\":[%ld,%ld,%ld],\"total\":[%llu,%llu,%llu],\"range\":[%lu,%lu,%lu],\"factor\":[%lu,%lu,%lu],"
        "\"n1\":[%lu,%lu,%lu],\"n2\":[%lu,%lu,%lu],\"phase\":[%u,%u,%u],\"cal_error\":[%u,%u,%u],\"failed_phase\":[%u,%u,%u],"
        "\"switches\":%u,\"ready\":%u,\"holding\":%u,\"pol\":%u,\"conflicts\":%u,\"tick\":%lu,\"ticks\":%lu,"
        "\"raw\":%u,\"errors\":%u,\"input_wait\":%d,\"recovered\":%lu,\"input_axis\":%d,\"input_kind\":%u,\"input_bits\":%u,\"input_at\":%lu,\"brief\":[%lu,%lu,%lu],"
        "\"idle_ignored\":%lu,\"gate_wait\":%d,\"gate_axis\":%u,\"false_hits\":[%lu,%lu,%lu],"
        "\"mode\":%u,\"selected\":%u,\"pps\":%u,\"direction\":[%d,%d,%d],\"dir_levels\":%u,"
        "\"coupling_ppm\":%ld,\"beta_q\":%ld,\"beta_measured\":%ld,\"probe_da\":%ld,\"probe_db\":%ld,\"coupling_ready\":%d,"
        "\"span_md\":[%ld,%ld],\"comp_pulses\":[%lu,%lu],"
        "\"path\":[%u,%u,%u,%u],\"starved\":%lu,"
        "\"motor_error\":%d,\"fault\":%d,\"timer_late\":%lu,\"timer_errno\":%d,\"reason\":\"%s\"}\n",
        (unsigned long)s->session,
        (unsigned long)s->job,
        (unsigned long)now,
        s->busy,
        s->referenced,
        (unsigned long)s->epoch,
        (unsigned)s->stage,
        (long)s->p[0], (long)s->p[1], (long)s->p[2],
        (long)s->g[0], (long)s->g[1], (long)s->g[2],
        (unsigned long long)s->total[0], (unsigned long long)s->total[1], (unsigned long long)s->total[2],
        (unsigned long)s->range[0], (unsigned long)s->range[1], (unsigned long)s->range[2],
        (unsigned long)s->f[0], (unsigned long)s->f[1], (unsigned long)s->f[2],
        (unsigned long)s->n1[0], (unsigned long)s->n1[1], (unsigned long)s->n1[2],
        (unsigned long)s->n2[0], (unsigned long)s->n2[1], (unsigned long)s->n2[2],
        s->phases[0], s->phases[1], s->phases[2],
        s->errors[0], s->errors[1], s->errors[2],
        s->failed[0], s->failed[1], s->failed[2],
        s->mask, s->ready, s->hold, s->pol, s->conflicts,
        (unsigned long)s->tick, (unsigned long)s->ticks,
        s->raw, s->io_errors, s->input_wait, (unsigned long)s->recovered,
        s->input_axis, s->input_kind, s->input_bits, (unsigned long)s->input_at,
        (unsigned long)s->brief[0], (unsigned long)s->brief[1], (unsigned long)s->brief[2],
        (unsigned long)s->idle_ignored, s->gate_wait, s->gate_axis,
        (unsigned long)s->false_hits[0], (unsigned long)s->false_hits[1], (unsigned long)s->false_hits[2],
        s->mode, s->selected, s->pps,
        s->direction[0], s->direction[1], s->direction[2], s->dir_levels,
        (long)s->coupling_ppm, (long)s->beta_q, (long)s->beta_measured,
        (long)s->probe_da, (long)s->probe_db, s->coupling_ready,
        (long)s->span_md[0], (long)s->span_md[1],
        (unsigned long)s->comp_pulses[0], (unsigned long)s->comp_pulses[1],
        s->path[0], s->path[1], s->path[2], s->path[3], (unsigned long)s->starved,
        s->motor_error, s->fault, (unsigned long)s->late, s->timer_error, s->reason
    );
}

/*
 * [EN] Serialize a command acknowledgment JSON line (`{"type":"ack",...}`).
 * [VI] Đóng gói bản tin JSON xác nhận lệnh (`{"type":"ack",...}`).
 */
int ct_ack_format(
    char *output,
    size_t capacity,
    uint32_t session,
    uint32_t job,
    const char *operation,
    bool ok,
    const char *reason
)
{
    return snprintf(
        output,
        capacity,
        "{\"type\":\"ack\",\"protocol\":5,\"session\":%lu,\"job\":%lu,\"op\":\"%s\",\"ok\":%d,\"reason\":\"%s\"}\n",
        (unsigned long)session,
        (unsigned long)job,
        operation,
        ok,
        reason
    );
}
```

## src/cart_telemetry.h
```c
/*
 * ============================================================================
 * FILE: cart_telemetry.h
 * ============================================================================
 * [EN] Thread-Safe Telemetry Snapshot & JSON Serializer Interface
 *      Defines `struct ct_status` so the main loop can copy a lightweight
 *      snapshot of `struct ct_state` while holding `irq_lock()`, unlock IRQs
 *      immediately, and format the JSON status string outside the critical
 *      section without delaying stepper pulse interrupts!
 *
 * [VI] Giao diện Chụp Ảnh Trạng thái (Snapshot) & Đóng gói Bản tin JSON
 *      Định nghĩa `struct ct_status` giúp vòng lặp chính sao chép nhanh các
 *      thông số cần thiết trong khi khóa ngắt `irq_lock()`, sau đó mở khóa ngắt
 *      ngay lập tức rồi mới định dạng chuỗi JSON. Cách thiết kế này đảm bảo
 *      hàm `snprintf` không bao giờ làm trễ ngắt phát xung động cơ bước!
 * ============================================================================
 */

#ifndef SCARA_CART_TELEMETRY_H
#define SCARA_CART_TELEMETRY_H

#include "cart_core.h"
#include <stddef.h>

/*
 * [EN] Buffer capacities for JSON status broadcasts and command ACK replies.
 * [VI] Kích thước bộ đệm tối đa cho bản tin JSON trạng thái (`status`) và phản hồi (`ack`).
 */
#define CT_STATUS_CAPACITY 1536U
#define CT_ACK_CAPACITY    192U

/*
 * [EN] Compact telemetry snapshot copied under IRQ lock.
 *      Does NOT copy the 32-element `path_queue` FIFO to keep IRQ lock time minimal.
 * [VI] Bản chụp trạng thái gọn nhẹ được sao chép trong vùng khóa ngắt.
 *      Không sao chép mảng hàng đợi `path_queue` để thời gian khóa ngắt là ngắn nhất.
 */
struct ct_status {
    /*
     * [EN] Per-axis home-relative positions `p[3]`, goals `g[3]`, measured spans `range[3]`,
     *      Q10 scale factors `f[3]`, forward/reverse sweep counts `n1[3]`/`n2[3]`, and total pulses `total[3]`.
     * [VI] Tọa độ tương đối so với gốc `p[3]`, đích đến `g[3]`, hành trình đo được `range[3]`,
     *      hệ số tỷ lệ Q10 `f[3]`, số xung quét thuận/ngược `n1[3]`/`n2[3]`, và tổng xung `total[3]`.
     */
    int32_t p[CT_AXES], g[CT_AXES];
    uint32_t range[CT_AXES], f[CT_AXES], n1[CT_AXES], n2[CT_AXES];
    uint64_t total[CT_AXES];

    /*
     * [EN] Per-axis calibration phases/errors and packed status bitmasks (`mask`, `ready`, `hold`, `pol`, `conflicts`).
     * [VI] Pha dò gốc, mã lỗi hiệu chuẩn và các mặt nạ bit trạng thái đóng gói của 3 trục.
     */
    unsigned phases[CT_AXES], errors[CT_AXES], failed[CT_AXES];
    unsigned mask, ready, hold, pol, conflicts;

    /*
     * [EN] Session/job identifiers, reference epoch, DDA tick progress, and path FIFO counters (`path[0..3]`).
     * [VI] Mã phiên `session`, công việc `job`, số lần về gốc `epoch`, tiến độ `tick`/`ticks` và bộ đếm `path[0..3]`.
     */
    uint32_t session, job, epoch, tick, ticks, late;
    unsigned path[4];
    uint32_t starved, recovered, input_at, brief[CT_AXES], false_hits[CT_AXES], idle_ignored;

    /*
     * [EN] Switch diagnostic fields, motion directions, belt coupling telemetry, and hardware fault codes.
     * [VI] Thông tin chẩn đoán công tắc, chiều quay, thông số truyền động đai và mã lỗi phần cứng.
     */
    int input_axis;
    unsigned input_kind, input_bits, raw, io_errors;
    bool input_wait, gate_wait;
    unsigned gate_axis;
    int direction[CT_AXES];
    unsigned dir_levels, mode, selected, pps;
    int32_t coupling_ppm, beta_q, beta_measured, probe_da, probe_db, span_md[2];
    uint32_t comp_pulses[2];
    bool coupling_ready, busy, referenced, fault;
    enum ct_stage stage;
    const char *reason;
    int motor_error, timer_error;
};

/*
 * [EN] Capture a consistent snapshot of `control` into `status` (call with IRQs locked).
 * [VI] Sao chép trạng thái từ `control` sang `status` (gọi khi đã khóa ngắt).
 */
void ct_status_capture(
    struct ct_status *status,
    const struct ct_state *control,
    bool timer_running,
    uint32_t timer_late,
    uint32_t now
);

/*
 * [EN] Format captured `status` into a newline-terminated JSON string (call with IRQs unlocked).
 * [VI] Định dạng cấu trúc `status` thành chuỗi JSON kết thúc bằng '\n' (gọi sau khi đã mở khóa ngắt).
 */
int ct_status_format(
    char *output,
    size_t capacity,
    const struct ct_status *status,
    uint32_t now
);

/*
 * [EN] Format a command acknowledgment (`{"type":"ack",...}`) into a JSON line.
 * [VI] Định dạng bản tin phản hồi lệnh (`{"type":"ack",...}`) thành chuỗi JSON.
 */
int ct_ack_format(
    char *output,
    size_t capacity,
    uint32_t session,
    uint32_t job,
    const char *operation,
    bool ok,
    const char *reason
);

#endif /* SCARA_CART_TELEMETRY_H */
```

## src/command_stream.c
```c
/*
 * ============================================================================
 * FILE: command_stream.c
 * ============================================================================
 * [EN] Implementation of the byte-by-byte USB/UART command line framer.
 *      Reads raw bytes from the serial port one by one and groups them into
 *      clean ASCII lines terminated by '\0'.
 *
 * [VI] Triển khai bộ ghép dòng lệnh từng byte cho giao tiếp USB/UART.
 *      Nhận từng byte thô từ cổng nối tiếp và ghép thành chuỗi lệnh ASCII
 *      hoàn chỉnh kết thúc bằng '\0'.
 * ============================================================================
 */

#include "command_stream.h"

/*
 * [EN] Clear byte counter and error-discard flag.
 * [VI] Xóa bộ đếm số byte và cờ báo lỗi để sẵn sàng nhận dòng lệnh mới.
 */
void command_stream_reset(struct command_stream *stream)
{
    stream->used = 0;
    stream->discard = false;
}

/*
 * [EN] Process a single incoming byte `ch` from UART/USB CDC-ACM:
 *      1. Ignore carriage return '\r' (supports both "\n" and "\r\n" endings).
 *      2. On newline '\n', finalize null-terminated string if valid and non-empty.
 *      3. Reject any byte outside printable ASCII [32..126] or exceeding buffer size.
 *
 * [VI] Xử lý từng ký tự `ch` đọc từ cổng nối tiếp USB/UART:
 *      1. Bỏ qua ký tự '\r' (hỗ trợ cả chuẩn xuống dòng Windows "\r\n" và Linux "\n").
 *      2. Khi gặp '\n', kết thúc chuỗi bằng '\0' nếu dòng lệnh không bị lỗi và không rỗng.
 *      3. Báo lỗi COMMAND_INVALID nếu tràn bộ đệm hoặc gặp ký tự ngoài vùng ASCII [32..126].
 */
enum command_stream_result command_stream_feed(struct command_stream *stream, unsigned char ch)
{
    /*
     * [EN] Step 1: Ignore CR ('\r') so CRLF and LF line endings behave identically.
     * [VI] Bước 1: Bỏ qua ký tự '\r' để tương thích cả Windows ("\r\n") và Linux ("\n").
     */
    if (ch == '\r') {
        return COMMAND_PENDING;
    }

    /*
     * [EN] Step 2: End of line ('\n') reached: check if the buffered line is valid and non-empty.
     * [VI] Bước 2: Đã gặp ký tự xuống dòng '\n': kiểm tra xem dòng lệnh có hợp lệ không.
     */
    if (ch == '\n') {
        bool complete = (!stream->discard) && (stream->used > 0);
        stream->line[stream->used] = '\0';
        command_stream_reset(stream);
        return complete ? COMMAND_COMPLETE : COMMAND_PENDING;
    }

    /*
     * [EN] Step 3: If current line was already marked invalid, keep discarding until '\n'.
     * [VI] Bước 3: Nếu dòng hiện tại đã bị đánh dấu lỗi, tiếp tục bỏ qua các ký tự cho tới '\n'.
     */
    if (stream->discard) {
        return COMMAND_PENDING;
    }

    /*
     * [EN] Step 4: Guard against buffer overflow and non-printable control characters.
     *      Printable ASCII characters have byte codes from 32 (' ') to 126 ('~').
     * [VI] Bước 4: Kiểm tra tràn bộ đệm (chừa 1 byte cho '\0') và lọc ký tự ASCII in được
     *      (mã ASCII từ 32 là dấu cách ' ' đến 126 là dấu '~').
     */
    size_t max_chars = sizeof(stream->line) - 1U;
    bool is_printable = (ch >= 32U) && (ch <= 126U);
    if (stream->used >= max_chars || !is_printable) {
        stream->used = 0;
        stream->discard = true;
        return COMMAND_INVALID;
    }

    /*
     * [EN] Step 5: Append valid character to buffer and wait for more bytes.
     * [VI] Bước 5: Lưu ký tự hợp lệ vào bộ đệm và chờ ký tự tiếp theo.
     */
    stream->line[stream->used] = (char)ch;
    stream->used++;
    return COMMAND_PENDING;
}
```

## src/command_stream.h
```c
/*
 * ============================================================================
 * FILE: command_stream.h
 * ============================================================================
 * [EN] USB/UART Byte-Stream Framing Interface
 *      Assembles raw incoming serial bytes one character at a time into
 *      null-terminated ASCII command lines. Detects buffer overflows and
 *      non-printable control characters immediately so corrupted packets
 *      never execute partially.
 *
 * [VI] Giao diện Đóng gói Luồng Byte USB/UART
 *      Ghép từng ký tự nhận được qua cổng nối tiếp thành một dòng lệnh ASCII
 *      hoàn chỉnh kết thúc bằng '\0'. Phát hiện ngay lập tức lỗi tràn bộ đệm
 *      hoặc ký tự lạ không in được để ngăn chặn việc thực thi lệnh bị hỏng.
 *
 * [DEBUG TIP / MẸO GỠ LỖI]:
 * - If commands from Python/PC seem ignored, inspect `stream->discard` and
 *   `stream->used` in debugger. A missing '\n' at the end of a sent string
 *   leaves the state in `COMMAND_PENDING`.
 * - Nếu lệnh gửi từ máy tính không phản hồi, hãy kiểm tra biến `stream->discard`
 *   và `stream->used`. Nếu quên gửi ký tự xuống dòng '\n', hàm sẽ luôn trả về
 *   `COMMAND_PENDING`.
 * ============================================================================
 */

#ifndef SCARA_COMMAND_STREAM_H
#define SCARA_COMMAND_STREAM_H

#include <stdbool.h>
#include <stddef.h>

/*
 * [EN] Maximum length of a single ASCII command line (including null terminator '\0').
 * [VI] Độ dài tối đa của một dòng lệnh ASCII (bao gồm ký tự kết thúc chuỗi '\0').
 */
#define COMMAND_LINE_CAPACITY 192U

/*
 * [EN] Return codes when feeding a single byte into the command stream:
 *      - COMMAND_PENDING : Waiting for more bytes or newline '\n'.
 *      - COMMAND_COMPLETE: A valid, complete line is ready in `stream->line`.
 *      - COMMAND_INVALID : Line overflowed or contained non-printable bytes.
 *
 * [VI] Các trạng thái trả về khi nạp 1 byte vào bộ nhận lệnh:
 *      - COMMAND_PENDING : Đang chờ thêm ký tự hoặc dấu xuống dòng '\n'.
 *      - COMMAND_COMPLETE: Đã nhận đủ 1 dòng lệnh hợp lệ trong `stream->line`.
 *      - COMMAND_INVALID : Dòng lệnh quá dài hoặc chứa ký tự lỗi không in được.
 */
enum command_stream_result {
    COMMAND_PENDING,
    COMMAND_COMPLETE,
    COMMAND_INVALID
};

/*
 * [EN] State structure holding the partial command line being received.
 * [VI] Cấu trúc lưu trạng thái của dòng lệnh đang được nhận dở dang.
 */
struct command_stream {
    char line[COMMAND_LINE_CAPACITY]; /* [EN] Character buffer / [VI] Bộ đệm lưu chuỗi lệnh */
    size_t used;                      /* [EN] Current byte count / [VI] Số ký tự đã nhận */
    bool discard;                     /* [EN] True if current line is tainted / [VI] Cờ bỏ qua dòng lỗi cho tới '\n' */
};

/*
 * [EN] Reset stream state to empty. Must be called on startup and on every
 *      USB reconnect/epoch change so partial commands never cross sessions.
 * [VI] Đặt lại bộ đệm nhận lệnh về trạng thái rỗng. Cần gọi khi khởi động
 *      hoặc khi cáp USB bị rút ra cắm lại để tránh ghép nhầm lệnh cũ.
 */
void command_stream_reset(struct command_stream *stream);

/*
 * [EN] Feed one raw byte into the framing state machine.
 *      - COMMAND_COMPLETE exposes `stream->line` until the next feed call.
 *      - COMMAND_INVALID fires once per rejected line; caller must halt motion
 *        immediately, while the stream drains remaining bytes until '\n'.
 * [VI] Nạp 1 byte thô vào máy trạng thái đóng gói lệnh.
 *      - Khi trả về COMMAND_COMPLETE, chuỗi `stream->line` sẵn sàng để xử lý.
 *      - Khi trả về COMMAND_INVALID, tầng gọi phải dừng robot ngay lập tức,
 *        bộ đệm sẽ tự động xả bỏ các ký tự còn lại cho đến khi gặp '\n'.
 */
enum command_stream_result command_stream_feed(struct command_stream *stream, unsigned char ch);

#endif /* SCARA_COMMAND_STREAM_H */
```

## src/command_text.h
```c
/*
 * ============================================================================
 * FILE: command_text.h
 * ============================================================================
 * [EN] Safe String Tokenization and Integer Parsing Utilities
 *      Provides re-entrant, allocation-free helpers to split command lines
 *      into space-separated tokens and parse bounded 64-bit / 32-bit integers.
 *
 * [VI] Bộ Công cụ Tách Từ (Tokenize) và Đọc Số Nguyên An toàn
 *      Cung cấp các hàm tách chuỗi theo khoảng trắng và chuyển đổi chuỗi sang
 *      số nguyên 64-bit / 32-bit có kiểm tra giới hạn, không dùng cấp phát động
 *      và không dùng biến toàn cục như `strtok`.
 * ============================================================================
 */

#ifndef SCARA_COMMAND_TEXT_H
#define SCARA_COMMAND_TEXT_H

#include <stdbool.h>
#include <stddef.h>
#include <stdint.h>

/*
 * [EN] Split `line` on ASCII spaces (' ') into `words[]` using caller-supplied
 *      `storage` buffer. Unlike C's `strtok()`, all state lives in caller buffers.
 * [VI] Tách chuỗi `line` thành mảng các từ `words[]` dựa vào dấu cách (' ').
 *      Mọi dữ liệu được lưu trong bộ đệm `storage` của hàm gọi nên hoàn toàn an toàn.
 */
bool command_split(
    const char *line,
    char *storage,
    size_t capacity,
    char **words,
    unsigned word_capacity,
    unsigned *count,
    bool printable
);

/*
 * [EN] Parse a signed 64-bit integer from `word` and verify `low <= *value <= high`.
 * [VI] Đọc số nguyên có dấu 64-bit từ chuỗi `word` và kiểm tra nằm trong đoạn [low, high].
 */
bool command_number_i64(const char *word, int64_t low, int64_t high, int64_t *value);

/*
 * [EN] Parse an unsigned 32-bit integer from `word` with overflow protection.
 * [VI] Đọc số nguyên không dấu 32-bit từ chuỗi `word` có chống tràn số.
 */
bool command_number_u32(const char *word, uint32_t *value);

/*
 * [EN] Extract the uppercase verb (first token, e.g. "MOVE", "INIT", "STOP")
 *      for ACK responses, or write "INVALID" if malformed.
 * [VI] Trích xuất tên lệnh viết hoa ở đầu dòng (ví dụ "MOVE", "INIT", "STOP")
 *      để đóng gói bản tin phản hồi ACK, hoặc trả về "INVALID" nếu sai cú pháp.
 */
void command_operation(const char *line, char operation[16]);

#endif /* SCARA_COMMAND_TEXT_H */
```
